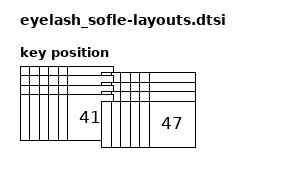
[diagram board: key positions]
#include <physical_layouts.dtsi>

/ {
    eyelash_sofle_layout: eyelash_sofle_layout {
        compatible = "zmk,physical-layout";
        display-name = "Layout";
        transform = <&default_transform>;
        keys  //                   w   h   x  y  rot rx ry
            = <&key_physical_attrs 100 100 0 0 0 0 0>
            , <&key_physical_attrs 100 100 19 0 0 0 0>
            , <&key_physical_attrs 100 100 38 0 0 0 0>
            , <&key_physical_attrs 100 100 57 0 0 0 0>
            , <&key_physical_attrs 100 100 76 0 0 0 0>
            , <&key_physical_attrs 100 100 95 0 0 0 0>
            , <&key_physical_attrs 100 100 163 13 0 0 0>
            , <&key_physical_attrs 100 100 182 13 0 0 0>
            , <&key_physical_attrs 100 100 201 13 0 0 0>
            , <&key_physical_attrs 100 100 220 13 0 0 0>
            , <&key_physical_attrs 100 100 239 13 0 0 0>
            , <&key_physical_attrs 100 100 258 13 0 0 0>
            , <&key_physical_attrs 100 100 0 19 0 0 0>
            , <&key_physical_attrs 100 100 19 19 0 0 0>
            , <&key_physical_attrs 100 100 38 19 0 0 0>
            , <&key_physical_attrs 100 100 57 19 0 0 0>
            , <&key_physical_attrs 100 100 76 19 0 0 0>
            , <&key_physical_attrs 100 100 95 19 0 0 0>
            , <&key_physical_attrs 100 100 163 32 0 0 0>
            , <&key_physical_attrs 100 100 182 32 0 0 0>
            , <&key_physical_attrs 100 100 201 32 0 0 0>
            , <&key_physical_attrs 100 100 220 32 0 0 0>
            , <&key_physical_attrs 100 100 239 32 0 0 0>
            , <&key_physical_attrs 100 100 258 32 0 0 0>
            , <&key_physical_attrs 100 100 0 38 0 0 0>
            , <&key_physical_attrs 100 100 19 38 0 0 0>
            , <&key_physical_attrs 100 100 38 38 0 0 0>
            , <&key_physical_attrs 100 100 57 38 0 0 0>
            , <&key_physical_attrs 100 100 76 38 0 0 0>
            , <&key_physical_attrs 100 100 95 38 0 0 0>
            , <&key_physical_attrs 100 100 163 51 0 0 0>
            , <&key_physical_attrs 100 100 182 51 0 0 0>
            , <&key_physical_attrs 100 100 201 51 0 0 0>
            , <&key_physical_attrs 100 100 220 51 0 0 0>
            , <&key_physical_attrs 100 100 239 51 0 0 0>
            , <&key_physical_attrs 100 100 258 51 0 0 0>
            , <&key_physical_attrs 100 100 0 57 0 0 0>
            , <&key_physical_attrs 100 100 19 57 0 0 0>
            , <&key_physical_attrs 100 100 38 57 0 0 0>
            , <&key_physical_attrs 100 100 57 57 0 0 0>
            , <&key_physical_attrs 100 100 76 57 0 0 0>
            , <&key_physical_attrs 100 100 95 57 0 0 0>
            , <&key_physical_attrs 100 100 163 70 0 0 0>
            , <&key_physical_attrs 100 100 182 70 0 0 0>
            , <&key_physical_attrs 100 100 201 70 0 0 0>
            , <&key_physical_attrs 100 100 220 70 0 0 0>
            , <&key_physical_attrs 100 100 239 70 0 0 0>
            , <&key_physical_attrs 100 100 258 70 0 0 0>
            ;
    };
};
